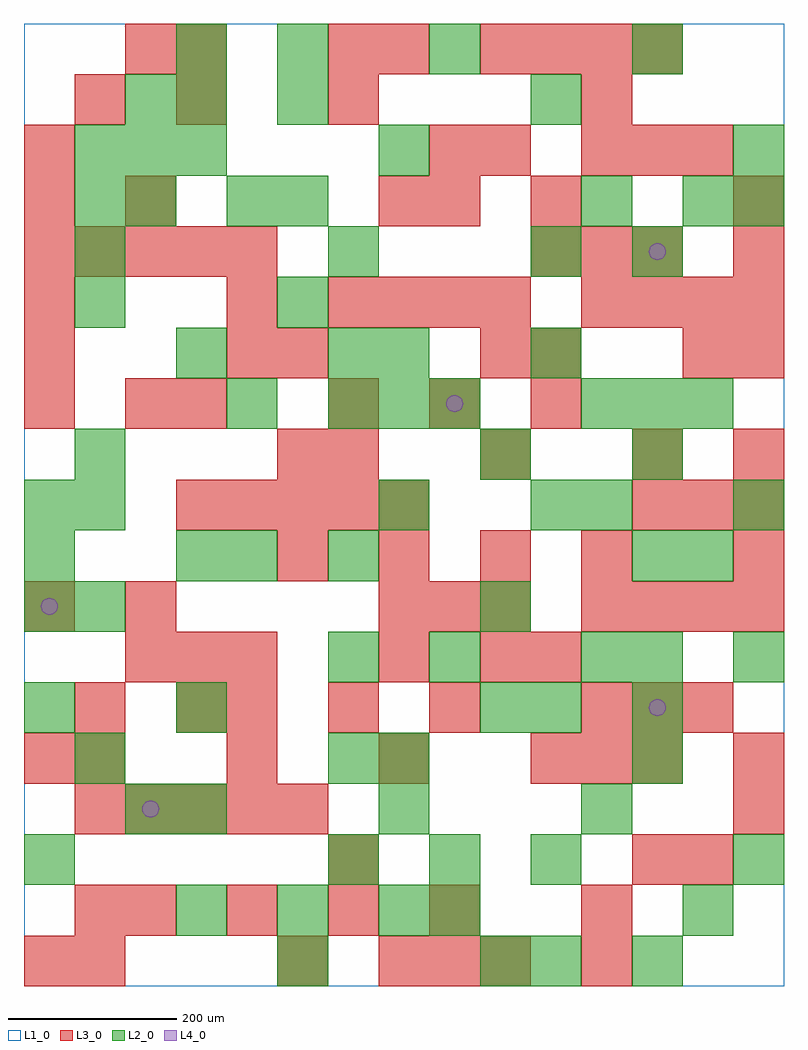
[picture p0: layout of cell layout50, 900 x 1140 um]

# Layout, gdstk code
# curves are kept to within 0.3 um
import gdstk
lib = gdstk.Library(unit=1e-6, precision=1e-09)
def R(c, l, rs):  # rectangles x0, y0, x1, y1
    for r in rs: c.add(gdstk.rectangle(r[:2], r[2:], *l))
def A(c, l, x, y, w, h, nx, ny, dx, dy):  # array of equal rectangles
    R(c, l, [(x+i*dx, y+j*dy, x+i*dx+w, y+j*dy+h) for i in range(nx) for j in range(ny)])
def P(c, l, *ps):  # polygons
    for p in ps: c.add(gdstk.Polygon(p, *l))
L1_0 = (1, 0)
L2_0 = (2, 0)
L3_0 = (3, 0)
L4_0 = (4, 0)

layout50 = lib.new_cell('layout50')
R(layout50, L1_0, [(0,0,900,1140)])
A(layout50, L2_0, 180, 60, 60, 60, 3, 1, 120, 0)
A(layout50, L2_0, 780, 60, 60, 60, 1, 3, 0, 420)
A(layout50, L2_0, 360, 120, 60, 60, 3, 1, 120, 0)
A(layout50, L2_0, 180, 180, 60, 60, 3, 1, 240, 0)
A(layout50, L2_0, 360, 240, 60, 60, 1, 3, 0, 120)
A(layout50, L2_0, 720, 240, 60, 60, 1, 3, 0, 60)
A(layout50, L2_0, 0, 420, 60, 60, 1, 3, 0, 60)
A(layout50, L2_0, 720, 600, 60, 60, 1, 3, 0, 240)
A(layout50, L2_0, 360, 660, 60, 60, 3, 1, 60, 0)
A(layout50, L2_0, 660, 660, 60, 60, 3, 1, 60, 0)
A(layout50, L2_0, 60, 780, 60, 60, 1, 3, 0, 60)
A(layout50, L2_0, 300, 780, 60, 60, 1, 3, 0, 120)
A(layout50, L2_0, 60, 960, 60, 60, 3, 1, 60, 0)
R(layout50, L2_0, [(300,0,360,60), (540,0,600,60), (600,0,660,60), (720,0,780,60), (480,60,540,120), (0,120,60,180), (840,120,900,180), (120,180,180,240), (60,240,120,300), (420,240,480,300), (0,300,60,360), (180,300,240,360), (540,300,600,360), (600,300,660,360), (480,360,540,420), (660,360,720,420), (840,360,900,420), (60,420,120,480), (540,420,600,480), (180,480,240,540), (240,480,300,540), (720,480,780,540), (60,540,120,600), (420,540,480,600), (600,540,660,600), (660,540,720,600), (840,540,900,600), (60,600,120,660), (540,600,600,660), (240,660,300,720), (180,720,240,780), (360,720,420,780), (420,720,480,780), (600,720,660,780), (360,840,420,900), (600,840,660,900), (120,900,180,960), (240,900,300,960), (660,900,720,960), (840,900,900,960), (420,960,480,1020), (840,960,900,1020), (120,1020,180,1080), (180,1020,240,1080), (600,1020,660,1080), (180,1080,240,1140), (300,1080,360,1140), (480,1080,540,1140)])
A(layout50, L3_0, 420, 0, 60, 60, 3, 2, 60, 420)
A(layout50, L3_0, 120, 60, 60, 60, 4, 1, 120, 0)
A(layout50, L3_0, 60, 180, 60, 60, 5, 1, 60, 0)
A(layout50, L3_0, 60, 240, 60, 60, 4, 1, 180, 0)
A(layout50, L3_0, 180, 300, 60, 60, 1, 3, 0, 360)
A(layout50, L3_0, 240, 300, 60, 60, 3, 1, 120, 0)
A(layout50, L3_0, 660, 300, 60, 60, 3, 2, 60, 660)
A(layout50, L3_0, 120, 360, 60, 60, 3, 1, 60, 0)
A(layout50, L3_0, 120, 420, 60, 60, 1, 3, 0, 240)
A(layout50, L3_0, 660, 420, 60, 60, 4, 2, 60, 360)
A(layout50, L3_0, 300, 480, 60, 60, 4, 1, 120, 0)
A(layout50, L3_0, 840, 480, 60, 60, 1, 4, 0, 120)
A(layout50, L3_0, 180, 540, 60, 60, 5, 1, 60, 0)
A(layout50, L3_0, 720, 540, 60, 60, 3, 1, 60, 0)
A(layout50, L3_0, 360, 600, 60, 60, 3, 1, 180, 0)
A(layout50, L3_0, 0, 660, 60, 60, 1, 3, 0, 60)
A(layout50, L3_0, 360, 660, 60, 60, 3, 1, 120, 0)
A(layout50, L3_0, 360, 780, 60, 60, 4, 1, 60, 0)
A(layout50, L3_0, 0, 840, 60, 60, 5, 1, 60, 0)
A(layout50, L3_0, 600, 840, 60, 60, 3, 1, 60, 0)
A(layout50, L3_0, 540, 1080, 60, 60, 4, 1, 60, 0)
R(layout50, L3_0, [(0,0,60,60), (60,0,120,60), (300,0,360,60), (660,0,720,60), (60,60,120,120), (660,60,720,120), (360,120,420,180), (720,120,780,180), (780,120,840,180), (840,180,900,240), (0,240,60,300), (660,240,720,300), (720,240,780,300), (840,240,900,300), (60,300,120,360), (420,360,480,420), (540,360,600,420), (600,360,660,420), (0,420,60,480), (300,600,360,660), (240,720,300,780), (300,720,360,780), (540,720,600,780), (600,720,660,780), (780,720,840,780), (240,780,300,840), (0,900,60,960), (420,900,480,960), (480,900,540,960), (600,900,660,960), (840,900,900,960), (0,960,60,1020), (480,960,540,1020), (540,960,600,1020), (60,1020,120,1080), (360,1020,420,1080), (660,1020,720,1080), (120,1080,180,1140), (180,1080,240,1140), (360,1080,420,1140), (420,1080,480,1140)])
P(layout50, L4_0, [(40,450),(39.239,453.827),(37.071,457.071),(33.827,459.239),(30,460),(26.173,459.239),(22.929,457.071),(20.761,453.827),(20,450),(20.761,446.173),(22.929,442.929),(26.173,440.761),(30,440),(33.827,440.761),(37.071,442.929),(39.239,446.173)],
  [(160,210),(159.239,213.827),(157.071,217.071),(153.827,219.239),(150,220),(146.173,219.239),(142.929,217.071),(140.761,213.827),(140,210),(140.761,206.173),(142.929,202.929),(146.173,200.761),(150,200),(153.827,200.761),(157.071,202.929),(159.239,206.173)],
  [(520,690),(519.239,693.827),(517.071,697.071),(513.827,699.239),(510,700),(506.173,699.239),(502.929,697.071),(500.761,693.827),(500,690),(500.761,686.173),(502.929,682.929),(506.173,680.761),(510,680),(513.827,680.761),(517.071,682.929),(519.239,686.173)],
  [(760,330),(759.239,333.827),(757.071,337.071),(753.827,339.239),(750,340),(746.173,339.239),(742.929,337.071),(740.761,333.827),(740,330),(740.761,326.173),(742.929,322.929),(746.173,320.761),(750,320),(753.827,320.761),(757.071,322.929),(759.239,326.173)],
  [(760,870),(759.239,873.827),(757.071,877.071),(753.827,879.239),(750,880),(746.173,879.239),(742.929,877.071),(740.761,873.827),(740,870),(740.761,866.173),(742.929,862.929),(746.173,860.761),(750,860),(753.827,860.761),(757.071,862.929),(759.239,866.173)])

lib.write_gds('layout50.gds')
